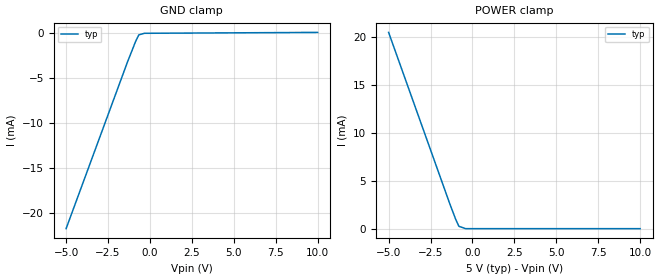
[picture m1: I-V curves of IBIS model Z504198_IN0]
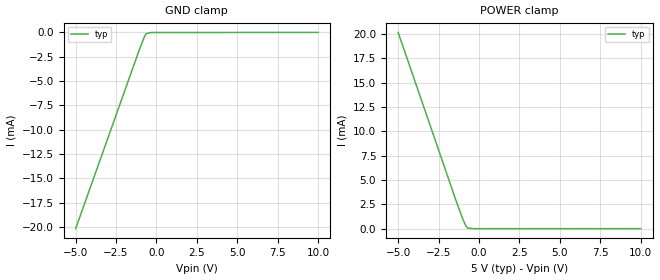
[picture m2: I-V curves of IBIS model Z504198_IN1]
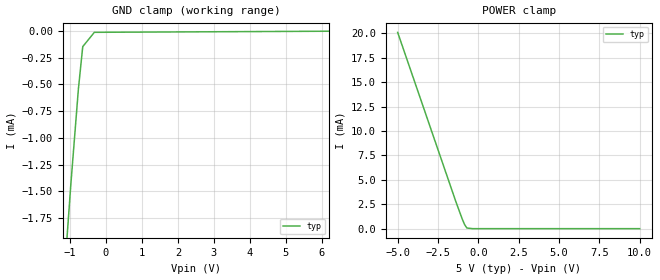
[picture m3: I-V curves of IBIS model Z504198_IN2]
| YOU ARE ONLY AUTHORIZED TO USE THIS SOFTWARE
| ACCORDING TO LICENSOR'S LICENSE RESTRICTIONS.
[IBIS Ver] 3.1
[File Name] mc74hc259d.ibs
[File Rev] 2.0
[Source] Measured and created by ICX Technology
[Date] Friday 7/14/00 9:08:09 AM
[Copyright]
| (C) COPYRIGHT 1993-2000
| MENTOR GRAPHICS CORPORATION
| ICX STANDARD LIBRARY, ICX PROJECT MODELING,
| ICX CUSTOM MODELING, ICX VENDOR MODEL
| ALL RIGHTS RESERVED.
| THE FOLLOWING ARE TRADEMARKS OR SERVICE MARKS OF
| MENTOR GRAPHICS CORPORATION:ICX (R), ICX STANDARD
| LIBRARY(R), ICX PROJECT MODELING(R), ICX CUSTOM
| MODELING(R), qualityIBIS(TM), MODELVIEWER(TM),
| AND MODELEDITOR(TM)
| ALL COPIES OF SOFTWARE, INCLUDING BUT NOT LIMITED TO
| ANY MODIFICATIONS, ENHANCEMENTS OR DERIVATIVE WORKS,
| MUST CONTAIN ALL MENTOR GRAPHICS CORPORATION'S
| NOTICES AND LEGENDS, INCLUDING THOSE EMBEDDED IN
| SOFTWARE AND THOSE AFFIXED TO SOFTWARE MEDIUM
| AND CONTAINER, AS RECEIVED FROM MENTOR GRAPHICS
| CORPORATION.
|  ZAP Model Builder 2.7
[Component] MC74HC259D
[Manufacturer] OnSemiconductor
[Package]
| variable   typ   min   max
R_pkg  .156ohms NA NA
L_pkg  3.148nH NA NA
C_pkg  .388pF NA NA
[Pin] signal_name  model_name  R_pin  L_pin C_pin
1 S0 Z504198_IN0 .162 3.798n .418p
2 S1 Z504198_IN0 .158 3.358n .398p
3 S2 Z504198_IN0 .154 2.928n .378p
4 Q0 Z504198_OUT .15 2.508n .358p
5 Q1 Z504198_OUT .15 2.508n .358p
6 Q2 Z504198_OUT .154 2.928n .378p
7 Q3 Z504198_OUT .158 3.358n .398p
8 GROUND GND .162 3.798n .418p
9 Q4 Z504198_OUT .162 3.798n .418p
10 Q5 Z504198_OUT .158 3.358n .398p
11 Q6 Z504198_OUT .154 2.928n .378p
12 Q7 Z504198_OUT .15 2.508n .358p
13 D Z504198_IN1 .15 2.508n .358p
14 _G Z504198_IN2 .154 2.928n .378p
15 _CLR Z504198_IN3 .158 3.358n .398p
16 VCC POWER .162 3.798n .418p
| Models and submodels in the file (5): Z504198_IN0 (Input), Z504198_IN1 (Input), Z504198_IN2 (Input), Z504198_IN3 (Input), Z504198_OUT (Output)
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| (C) COPYRIGHT 1993-2000
| MENTOR GRAPHICS CORPORATION
| ICX STANDARD LIBRARY, ICX PROJECT MODELING,
| ICX CUSTOM MODELING, ICX VENDOR MODEL
| ALL RIGHTS RESERVED.
| THE FOLLOWING ARE TRADEMARKS OR SERVICE MARKS OF
| MENTOR GRAPHICS CORPORATION:ICX (R), ICX STANDARD
| LIBRARY(R), ICX PROJECT MODELING(R), ICX CUSTOM
| MODELING(R), qualityIBIS(TM), MODELVIEWER(TM),
| AND MODELEDITOR(TM)
| ALL COPIES OF SOFTWARE, INCLUDING BUT NOT LIMITED TO
| ANY MODIFICATIONS, ENHANCEMENTS OR DERIVATIVE WORKS,
| MUST CONTAIN ALL MENTOR GRAPHICS CORPORATION'S
| NOTICES AND LEGENDS, INCLUDING THOSE EMBEDDED IN
| SOFTWARE AND THOSE AFFIXED TO SOFTWARE MEDIUM
| AND CONTAINER, AS RECEIVED FROM MENTOR GRAPHICS
| CORPORATION.
| Model Application Version 1.89 2/18/99.
[Model] Z504198_IN0
Model_type Input
Vinl = 1.000V
Vinh = 3.500V
C_comp 4.000pF NA NA
| variable typ   min   max
[Voltage Range] 5.000V NA NA
[GND Clamp Reference] 0.000V NA NA
[POWER Clamp Reference] 5.000V NA NA
[GND Clamp]
-5V       -21.73mA   NA         NA
-1.338V   -3.192mA   NA         NA
-859.2mV  -935.9uA   NA         NA
-664.2mV  -187.2uA   NA         NA
-332.1mV  -10.26uA   NA         NA
10V       89.84uA    NA         NA
[POWER Clamp]
-5V       20.5mA     NA         NA
-1.343V   2.558mA    NA         NA
-1.001V   986.9uA    NA         NA
-811mV    250.5uA    NA         NA
-405.5mV  0A         NA         NA
10V       0A         NA         NA
| (C) COPYRIGHT 1993-2000
| MENTOR GRAPHICS CORPORATION
| ICX STANDARD LIBRARY, ICX PROJECT MODELING,
| ICX CUSTOM MODELING, ICX VENDOR MODEL
| ALL RIGHTS RESERVED.
| THE FOLLOWING ARE TRADEMARKS OR SERVICE MARKS OF
| MENTOR GRAPHICS CORPORATION:ICX (R), ICX STANDARD
| LIBRARY(R), ICX PROJECT MODELING(R), ICX CUSTOM
| MODELING(R), qualityIBIS(TM), MODELVIEWER(TM),
| AND MODELEDITOR(TM)
| ALL COPIES OF SOFTWARE, INCLUDING BUT NOT LIMITED TO
| ANY MODIFICATIONS, ENHANCEMENTS OR DERIVATIVE WORKS,
| MUST CONTAIN ALL MENTOR GRAPHICS CORPORATION'S
| NOTICES AND LEGENDS, INCLUDING THOSE EMBEDDED IN
| SOFTWARE AND THOSE AFFIXED TO SOFTWARE MEDIUM
| AND CONTAINER, AS RECEIVED FROM MENTOR GRAPHICS
| CORPORATION.
| Model Application Version 1.89 2/18/99.
[Model] Z504198_IN1
Model_type Input
Vinl = 1.000V
Vinh = 3.500V
C_comp 4.000pF NA NA
| variable typ   min   max
[Voltage Range] 5.000V NA NA
[GND Clamp Reference] 0.000V NA NA
[POWER Clamp Reference] 5.000V NA NA
[GND Clamp]
-5V       -20.16mA   NA         NA
-1.069V   -1.826mA   NA         NA
-765.8mV  -525.6uA   NA         NA
-645.1mV  -131uA     NA         NA
-322.5mV  -13.21uA   NA         NA
10V       603.5nA    NA         NA
[POWER Clamp]
-5V       20.16mA    NA         NA
-1.405V   2.81mA     NA         NA
-1.002V   997.8uA    NA         NA
-830mV    345.1uA    NA         NA
-711mV    65.65uA    NA         NA
-355.5mV  0A         NA         NA
10V       0A         NA         NA
| (C) COPYRIGHT 1993-2000
| MENTOR GRAPHICS CORPORATION
| ICX STANDARD LIBRARY, ICX PROJECT MODELING,
| ICX CUSTOM MODELING, ICX VENDOR MODEL
| ALL RIGHTS RESERVED.
| THE FOLLOWING ARE TRADEMARKS OR SERVICE MARKS OF
| MENTOR GRAPHICS CORPORATION:ICX (R), ICX STANDARD
| LIBRARY(R), ICX PROJECT MODELING(R), ICX CUSTOM
| MODELING(R), qualityIBIS(TM), MODELVIEWER(TM),
| AND MODELEDITOR(TM)
| ALL COPIES OF SOFTWARE, INCLUDING BUT NOT LIMITED TO
| ANY MODIFICATIONS, ENHANCEMENTS OR DERIVATIVE WORKS,
| MUST CONTAIN ALL MENTOR GRAPHICS CORPORATION'S
| NOTICES AND LEGENDS, INCLUDING THOSE EMBEDDED IN
| SOFTWARE AND THOSE AFFIXED TO SOFTWARE MEDIUM
| AND CONTAINER, AS RECEIVED FROM MENTOR GRAPHICS
| CORPORATION.
| Model Application Version 1.89 2/18/99.
[Model] Z504198_IN2
Model_type Input
Vinl = 1.000V
Vinh = 3.500V
C_comp 4.000pF NA NA
| variable typ   min   max
[Voltage Range] 5.000V NA NA
[GND Clamp Reference] 0.000V NA NA
[POWER Clamp Reference] 5.000V NA NA
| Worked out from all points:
|   GND clamp passes 1 mA (typ) near -0.87 V on its own axis
|   POWER clamp passes 1 mA (typ) near -1.00 V on its own axis
[GND Clamp]
-5V       -20.25mA   NA         NA
-975.9mV  -1.434mA   NA         NA
-765.6mV  -541.9uA   NA         NA
-645.1mV  -147.9uA   NA         NA
-322.5mV  -14.34uA   NA         NA
10V       2.001uA    NA         NA
[POWER Clamp]
-5V       20.1mA     NA         NA
-1.404V   2.817mA    NA         NA
-1.002V   1.003mA    NA         NA
-849mV    407.3uA    NA         NA
-711mV    67.95uA    NA         NA
-355.5mV  0A         NA         NA
10V       0A         NA         NA
